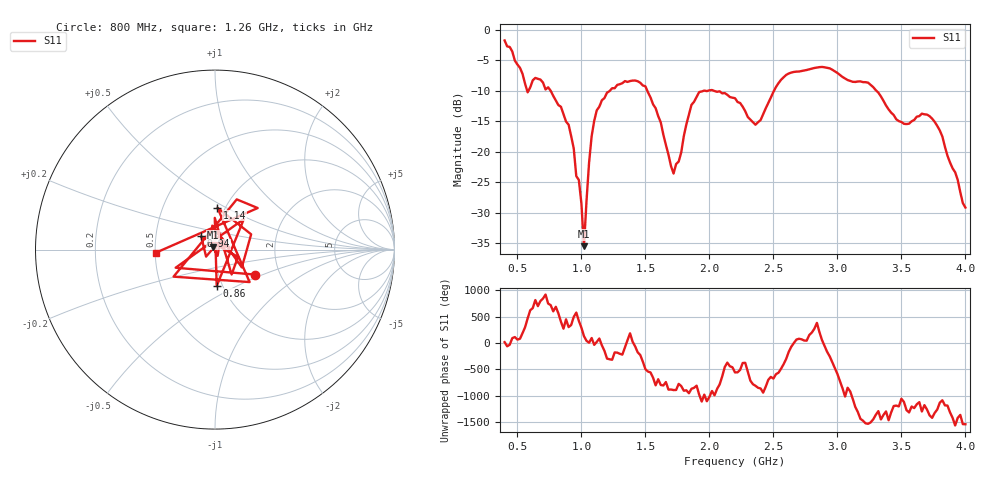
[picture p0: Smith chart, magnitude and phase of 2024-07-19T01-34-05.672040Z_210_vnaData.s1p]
!Created with skrf (http://scikit-rf.org).
# Hz S RI R 50.0
!freq ReS11 ImS11
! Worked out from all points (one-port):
!   181 points, 400 MHz to 4 GHz, reference 50 ohm
!   lowest |S11| = -35.5 dB at 1.02 GHz (marker M1), VSWR 1.03, Z = 48.9 + j1.23 ohm
!   |S11| at or under -10 dB: 760 MHz to 1.222 GHz (462.1 MHz wide, 46.6 % of centre); 2.035 GHz to 2.505 GHz (469.5 MHz wide, 20.7 % of centre); 3.305 GHz to end of sweep (the widest 3 of 6)
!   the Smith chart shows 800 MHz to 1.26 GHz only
!   S11 on the Smith chart (normalised r, x): 800 MHz: 1.49, -0.45; 860 MHz: 0.94, -0.40; 940 MHz: 0.85, +0.13; 1.14 GHz: 0.92, +0.45; 1.26 GHz: 0.50, -0.02
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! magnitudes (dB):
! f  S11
! 400 MHz  -1.8
! 580 MHz  -10.3
! 640 MHz  -7.9
! 800 MHz  -11.6
! 860 MHz  -13.8
! 940 MHz  -19.4
! 1 GHz  -28.5
! 1.02 GHz  -35.5
! 1.06 GHz  -21.8
! 1.08 GHz  -17.4
! 1.14 GHz  -12.6
! 1.26 GHz  -9.6
! 1.3 GHz  -8.9
! 1.5 GHz  -9.3
! 1.62 GHz  -15.2
! 1.72 GHz  -23.6
! 1.76 GHz  -21.6
! 1.86 GHz  -12.3
! 1.92 GHz  -10.2
! 2.2 GHz  -11.2
! 2.36 GHz  -15.6
! 2.54 GHz  -8.7
! 2.66 GHz  -6.9
! 3.1 GHz  -8.4
! 3.24 GHz  -8.7
! 3.56 GHz  -15.4
! 3.76 GHz  -15.1
! 4 GHz  -29.1
